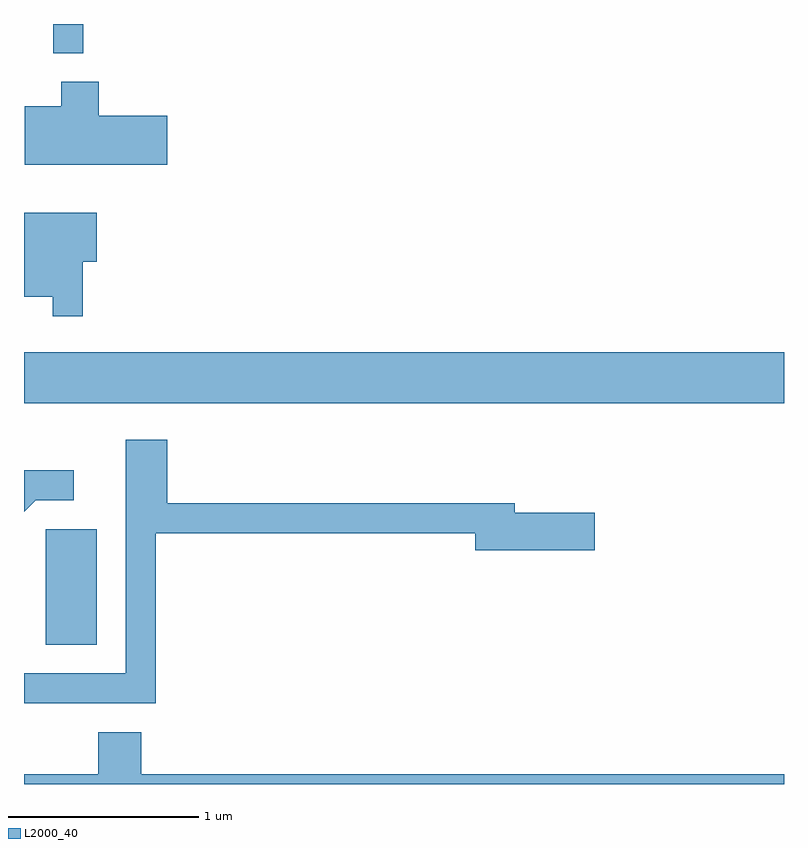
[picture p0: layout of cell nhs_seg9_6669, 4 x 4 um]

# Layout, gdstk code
import gdstk
lib = gdstk.Library(unit=1e-6, precision=1e-09)
def R(c, l, rs):  # rectangles x0, y0, x1, y1
    for r in rs: c.add(gdstk.rectangle(r[:2], r[2:], *l))
def P(c, l, *ps):  # polygons
    for p in ps: c.add(gdstk.Polygon(p, *l))
L2000_40 = (2000, 40)

nhs_seg9_6669 = lib.new_cell('nhs_seg9_6669')
R(nhs_seg9_6669, L2000_40, [(381.726,2037.166,381.994,2037.774), (381.611,2038.436,385.611,2038.704), (381.766,2040.278,381.924,2040.432)])
P(nhs_seg9_6669, L2000_40, [(382.364,2039.949),(382.004,2039.949),(382.004,2040.129),(381.806,2040.129),(381.806,2039.999),(381.616,2039.999),(381.616,2039.691),(382.364,2039.691)],
  [(381.919,2039.181),(381.994,2039.181),(381.994,2039.439),(381.611,2039.439),(381.611,2038.996),(381.761,2038.996),(381.761,2038.893),(381.919,2038.893)],
  [(382.304,2037.751),(383.986,2037.751),(383.986,2037.661),(384.614,2037.661),(384.614,2037.859),(384.194,2037.859),(384.194,2037.909),(382.364,2037.909),(382.364,2038.244),(382.146,2038.244),(382.146,2037.014),(381.611,2037.014),(381.611,2036.856),(382.304,2036.856)],
  [(381.672,2037.926),(381.873,2037.926),(381.873,2038.084),(381.611,2038.084),(381.611,2037.865)],
  [(382.229,2036.704),(382.001,2036.704),(382.001,2036.484),(381.611,2036.484),(381.611,2036.432),(385.611,2036.432),(385.611,2036.484),(382.229,2036.484)])

lib.write_gds('nhs_seg9_6669.gds')
